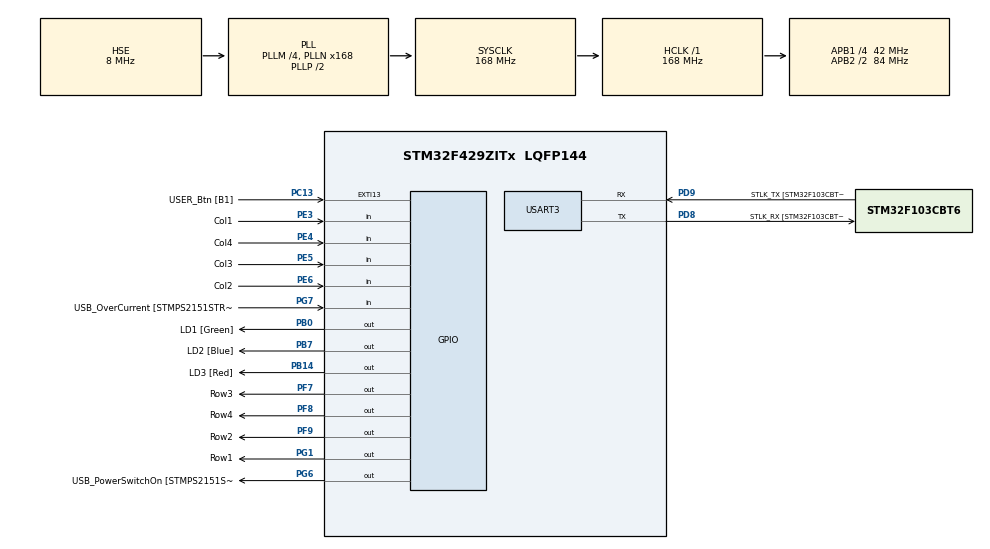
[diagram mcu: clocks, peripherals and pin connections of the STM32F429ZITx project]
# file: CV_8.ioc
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Mcu.Family=STM32F4
Mcu.Name=STM32F429ZITx
Mcu.Package=LQFP144
NVIC.PriorityGroup=NVIC_PRIORITYGROUP_4
NVIC.TIM3_IRQn=true\:0\:0\:false\:false\:true\:true\:true
PA1.GPIO_Label=RMII_REF_CLK [LAN8742A-CZ-TR_REFCLK0]
PA1.Signal=ETH_REF_CLK
PA10.GPIO_Label=USB_ID
PA10.Signal=USB_OTG_FS_ID
PA11.GPIO_Label=USB_DM
PA11.Signal=USB_OTG_FS_DM
PA12.GPIO_Label=USB_DP
PA12.Signal=USB_OTG_FS_DP
PA13.GPIO_Label=TMS
PA13.Mode=Serial_Wire
PA13.Signal=SYS_JTMS-SWDIO
PA14.GPIO_Label=TCK
PA14.Mode=Serial_Wire
PA14.Signal=SYS_JTCK-SWCLK
PA2.GPIO_Label=RMII_MDIO [LAN8742A-CZ-TR_MDIO]
PA2.Signal=ETH_MDIO
PA7.GPIO_Label=RMII_CRS_DV [LAN8742A-CZ-TR_CRS_DV]
PA7.Signal=ETH_CRS_DV
PA8.GPIO_Label=USB_SOF [TP1]
PA8.Signal=USB_OTG_FS_SOF
PA9.GPIO_Label=USB_VBUS
PA9.Signal=USB_OTG_FS_VBUS
PB0.GPIO_Label=LD1 [Green]
PB0.Signal=GPIO_Output
PB13.GPIO_Label=RMII_TXD1 [LAN8742A-CZ-TR_TXD1]
PB13.Signal=ETH_TXD1
PB14.GPIO_Label=LD3 [Red]
PB14.Signal=GPIO_Output
PB7.GPIO_Label=LD2 [Blue]
PB7.Signal=GPIO_Output
PC1.GPIO_Label=RMII_MDC [LAN8742A-CZ-TR_MDC]
PC1.Signal=ETH_MDC
PC13.GPIO_Label=USER_Btn [B1]
PC13.Signal=GPXTI13
PC14/OSC32_IN.Mode=LSE-External-Oscillator
PC14/OSC32_IN.Signal=RCC_OSC32_IN
PC15/OSC32_OUT.Mode=LSE-External-Oscillator
PC15/OSC32_OUT.Signal=RCC_OSC32_OUT
PC4.GPIO_Label=RMII_RXD0 [LAN8742A-CZ-TR_RXD0]
PC4.Signal=ETH_RXD0
PC5.GPIO_Label=RMII_RXD1 [LAN8742A-CZ-TR_RXD1]
PC5.Signal=ETH_RXD1
PD8.GPIO_Label=STLK_RX [STM32F103CBT6_PA3]
PD8.Mode=Asynchronous
PD8.Signal=USART3_TX
PD9.GPIO_Label=STLK_TX [STM32F103CBT6_PA2]
PD9.Mode=Asynchronous
PD9.Signal=USART3_RX
PE3.GPIO_Label=Col1
PE3.GPIO_PuPd=GPIO_PULLUP
PE3.Signal=GPIO_Input
PE4.GPIO_Label=Col4
PE4.GPIO_PuPd=GPIO_PULLUP
PE4.Signal=GPIO_Input
PE5.GPIO_Label=Col3
PE5.GPIO_PuPd=GPIO_PULLUP
PE5.Signal=GPIO_Input
PE6.GPIO_Label=Col2
PE6.GPIO_PuPd=GPIO_PULLUP
PE6.Signal=GPIO_Input
PF7.GPIO_Label=Row3
PF7.GPIO_ModeDefaultOutputPP=GPIO_MODE_OUTPUT_OD
PF7.Signal=GPIO_Output
PF8.GPIO_Label=Row4
PF8.GPIO_ModeDefaultOutputPP=GPIO_MODE_OUTPUT_OD
PF8.Signal=GPIO_Output
PF9.GPIO_Label=Row2
PF9.GPIO_ModeDefaultOutputPP=GPIO_MODE_OUTPUT_OD
PF9.Signal=GPIO_Output
PG1.GPIO_Label=Row1
PG1.GPIO_ModeDefaultOutputPP=GPIO_MODE_OUTPUT_OD
PG1.Signal=GPIO_Output
PG11.GPIO_Label=RMII_TX_EN [LAN8742A-CZ-TR_TXEN]
PG11.Signal=ETH_TX_EN
PG13.GPIO_Label=RMII_TXD0 [LAN8742A-CZ-TR_TXD0]
PG13.Signal=ETH_TXD0
PG6.GPIO_Label=USB_PowerSwitchOn [STMPS2151STR_EN]
PG6.Signal=GPIO_Output
PG7.GPIO_Label=USB_OverCurrent [STMPS2151STR_FAULT]
PG7.Signal=GPIO_Input
PH0/OSC_IN.GPIO_Label=MCO [STM32F103CBT6_PA8]
PH0/OSC_IN.Mode=HSE-External-Clock-Source
PH0/OSC_IN.Signal=RCC_OSC_IN
PH1/OSC_OUT.Mode=HSE-External-Clock-Source
PH1/OSC_OUT.Signal=RCC_OSC_OUT
ProjectManager.HeapSize=0x200
ProjectManager.StackSize=0x400
ProjectManager.TargetToolchain=STM32CubeIDE
RCC.48MHZClocksFreq_Value=48000000
RCC.AHBFreq_Value=168000000
RCC.APB1CLKDivider=RCC_HCLK_DIV4
RCC.APB1Freq_Value=42000000
RCC.APB1TimFreq_Value=84000000
RCC.APB2CLKDivider=RCC_HCLK_DIV2
RCC.APB2Freq_Value=84000000
RCC.APB2TimCLKDivider=2
RCC.APB2TimFreq_Value=168000000
RCC.CortexFreq_Value=168000000
RCC.HCLKFreq_Value=168000000
RCC.HSE_VALUE=8000000
RCC.HSI_VALUE=16000000
RCC.PLLM=4
RCC.PLLMUL=RCC_PLL_MUL9
RCC.PLLN=168
RCC.PLLQ=7
RCC.PLLSourceVirtual=RCC_PLLSOURCE_HSE
RCC.PRESCALERUSB=RCC_USBCLKSOURCE_PLL_DIV1_5
RCC.SYSCLKFreq_VALUE=168000000
RCC.SYSCLKSource=RCC_SYSCLKSOURCE_PLLCLK
RCC.SYSCLKSourceVirtual=RCC_SYSCLKSOURCE_PLLCLK
RCC.USBFreq_Value=48000000
RCC.VCOOutputFreq_Value=336000000
TIM3.AutoReloadPreload=TIM_AUTORELOAD_PRELOAD_ENABLE
TIM3.Period=99
TIM3.Prescaler=8399
USART3.VirtualMode=VM_ASYNC
VP_TIM3_VS_ClockSourceINT.Mode=Internal
board=NUCLEO-F429ZI

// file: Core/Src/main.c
/* USER CODE BEGIN Header */
/**
  ******************************************************************************
  * @file           : main.c
  * @brief          : Main program body
  ******************************************************************************
  * @attention
  *
  * <h2><center>&copy; Copyright (c) 2021 STMicroelectronics.
  * All rights reserved.</center></h2>
  *
  * This software component is licensed by ST under BSD 3-Clause license,
  * the "License"; You may not use this file except in compliance with the
  * License. You may obtain a copy of the License at:
  *                        opensource.org/licenses/BSD-3-Clause
  *
  ******************************************************************************
  */
/* USER CODE END Header */
#include "main.h"

/* USER CODE BEGIN Includes */

#include <stdio.h>

/* USER CODE END Includes */

/* USER CODE BEGIN PD */
#define TIMEOUT 3000

/* USER CODE END PD */

TIM_HandleTypeDef htim3;

UART_HandleTypeDef huart3;

/* USER CODE BEGIN PV */

static volatile int8_t key = -1;

/* USER CODE END PV */

void SystemClock_Config(void);
static void MX_GPIO_Init(void);
static void MX_USART3_UART_Init(void);
static void MX_TIM3_Init(void);

/* USER CODE BEGIN 0 */

int __io_putchar(int ch)
{
 ITM_SendChar(ch);
return 0;
}

/* USER CODE END 0 */

int main(void)
{

  /* MCU Configuration--------------------------------------------------------*/

  /* Reset of all peripherals, Initializes the Flash interface and the Systick. */
  HAL_Init();

  /* Configure the system clock */
  SystemClock_Config();

  /* Initialize all configured peripherals */
  MX_GPIO_Init();
  MX_USART3_UART_Init();
  MX_TIM3_Init();
  /* USER CODE BEGIN 2 */

  printf("Test\n");

  HAL_TIM_Base_Start_IT(&htim3);

  const int8_t password[] = {7, 9, 3, 2, 12};
  uint32_t Tim = HAL_GetTick();
  uint8_t press = 0;
  uint8_t pos = 0;

  /* USER CODE END 2 */

  /* Infinite loop */
  /* USER CODE BEGIN WHILE */
  while (1)
  {
	  /*HAL_GPIO_TogglePin(LD1_GPIO_Port, LD1_Pin);
	  HAL_Delay(250);*/

	  if ((HAL_GetTick() > Tim + TIMEOUT) && press)
	  {
		  printf("Timeout\n");
		  press = 0;
		  pos = 0;
	  }

	  if (key != -1)									// Key press
	  {
		  if (key == password[pos])						// Control key
		  {
			  if (pos == 4)								// Last position
			  {
				  pos = 0;
			  }
			  else
			  {
				  pos++;
				  Tim = HAL_GetTick();
				  HAL_Delay(1000);// Activate Timeout
				  press = 1;
			  }
		  }
		  else
			  pos = 0;

		  printf("Press = %d > pos = %d\n", key, pos);	// Print key and position
		  HAL_GPIO_TogglePin(LD2_GPIO_Port, LD2_Pin);	// Change state on LD2
		  key = -1;
	  }

    /* USER CODE END WHILE */

  }
}

void SystemClock_Config(void)
{
  RCC_OscInitTypeDef RCC_OscInitStruct = {0};
  RCC_ClkInitTypeDef RCC_ClkInitStruct = {0};

  /** Configure the main internal regulator output voltage
  */
  __HAL_RCC_PWR_CLK_ENABLE();
  __HAL_PWR_VOLTAGESCALING_CONFIG(PWR_REGULATOR_VOLTAGE_SCALE1);
  /** Initializes the RCC Oscillators according to the specified parameters
  * in the RCC_OscInitTypeDef structure.
  */
  RCC_OscInitStruct.OscillatorType = RCC_OSCILLATORTYPE_HSE;
  RCC_OscInitStruct.HSEState = RCC_HSE_BYPASS;
  RCC_OscInitStruct.PLL.PLLState = RCC_PLL_ON;
  RCC_OscInitStruct.PLL.PLLSource = RCC_PLLSOURCE_HSE;
  RCC_OscInitStruct.PLL.PLLM = 4;
  RCC_OscInitStruct.PLL.PLLN = 168;
  RCC_OscInitStruct.PLL.PLLP = RCC_PLLP_DIV2;
  RCC_OscInitStruct.PLL.PLLQ = 7;
  if (HAL_RCC_OscConfig(&RCC_OscInitStruct) != HAL_OK)
  {
    Error_Handler();
  }
  /** Initializes the CPU, AHB and APB buses clocks
  */
  RCC_ClkInitStruct.ClockType = RCC_CLOCKTYPE_HCLK|RCC_CLOCKTYPE_SYSCLK
                              |RCC_CLOCKTYPE_PCLK1|RCC_CLOCKTYPE_PCLK2;
  RCC_ClkInitStruct.SYSCLKSource = RCC_SYSCLKSOURCE_PLLCLK;
  RCC_ClkInitStruct.AHBCLKDivider = RCC_SYSCLK_DIV1;
  RCC_ClkInitStruct.APB1CLKDivider = RCC_HCLK_DIV4;
  RCC_ClkInitStruct.APB2CLKDivider = RCC_HCLK_DIV2;

  if (HAL_RCC_ClockConfig(&RCC_ClkInitStruct, FLASH_LATENCY_5) != HAL_OK)
  {
    Error_Handler();
  }
}

static void MX_TIM3_Init(void)
{

  TIM_ClockConfigTypeDef sClockSourceConfig = {0};
  TIM_MasterConfigTypeDef sMasterConfig = {0};

  htim3.Instance = TIM3;
  htim3.Init.Prescaler = 8339;
  htim3.Init.CounterMode = TIM_COUNTERMODE_UP;
  htim3.Init.Period = 99;
  htim3.Init.ClockDivision = TIM_CLOCKDIVISION_DIV1;
  htim3.Init.AutoReloadPreload = TIM_AUTORELOAD_PRELOAD_ENABLE;
  if (HAL_TIM_Base_Init(&htim3) != HAL_OK)
  {
    Error_Handler();
  }
  sClockSourceConfig.ClockSource = TIM_CLOCKSOURCE_INTERNAL;
  if (HAL_TIM_ConfigClockSource(&htim3, &sClockSourceConfig) != HAL_OK)
  {
    Error_Handler();
  }
  sMasterConfig.MasterOutputTrigger = TIM_TRGO_RESET;
  sMasterConfig.MasterSlaveMode = TIM_MASTERSLAVEMODE_DISABLE;
  if (HAL_TIMEx_MasterConfigSynchronization(&htim3, &sMasterConfig) != HAL_OK)
  {
    Error_Handler();
  }

}

static void MX_USART3_UART_Init(void)
{

  huart3.Instance = USART3;
  huart3.Init.BaudRate = 115200;
  huart3.Init.WordLength = UART_WORDLENGTH_8B;
  huart3.Init.StopBits = UART_STOPBITS_1;
  huart3.Init.Parity = UART_PARITY_NONE;
  huart3.Init.Mode = UART_MODE_TX_RX;
  huart3.Init.HwFlowCtl = UART_HWCONTROL_NONE;
  huart3.Init.OverSampling = UART_OVERSAMPLING_16;
  if (HAL_UART_Init(&huart3) != HAL_OK)
  {
    Error_Handler();
  }

}

static void MX_GPIO_Init(void)
{
  GPIO_InitTypeDef GPIO_InitStruct = {0};

  /* GPIO Ports Clock Enable */
  __HAL_RCC_GPIOE_CLK_ENABLE();
  __HAL_RCC_GPIOC_CLK_ENABLE();
  __HAL_RCC_GPIOF_CLK_ENABLE();
  __HAL_RCC_GPIOH_CLK_ENABLE();
  __HAL_RCC_GPIOA_CLK_ENABLE();
  __HAL_RCC_GPIOB_CLK_ENABLE();
  __HAL_RCC_GPIOG_CLK_ENABLE();
  __HAL_RCC_GPIOD_CLK_ENABLE();

  /*Configure GPIO pin Output Level */
  HAL_GPIO_WritePin(GPIOF, Row3_Pin|Row4_Pin|Row2_Pin, GPIO_PIN_RESET);

  /*Configure GPIO pin Output Level */
  HAL_GPIO_WritePin(GPIOB, LD1_Pin|LD3_Pin|LD2_Pin, GPIO_PIN_RESET);

  /*Configure GPIO pin Output Level */
  HAL_GPIO_WritePin(GPIOG, Row1_Pin|USB_PowerSwitchOn_Pin, GPIO_PIN_RESET);

  /*Configure GPIO pins : Col1_Pin Col4_Pin Col3_Pin Col2_Pin */
  GPIO_InitStruct.Pin = Col1_Pin|Col4_Pin|Col3_Pin|Col2_Pin;
  GPIO_InitStruct.Mode = GPIO_MODE_INPUT;
  GPIO_InitStruct.Pull = GPIO_PULLUP;
  HAL_GPIO_Init(GPIOE, &GPIO_InitStruct);

  /*Configure GPIO pin : USER_Btn_Pin */
  GPIO_InitStruct.Pin = USER_Btn_Pin;
  GPIO_InitStruct.Mode = GPIO_MODE_IT_RISING;
  GPIO_InitStruct.Pull = GPIO_NOPULL;
  HAL_GPIO_Init(USER_Btn_GPIO_Port, &GPIO_InitStruct);

  /*Configure GPIO pins : Row3_Pin Row4_Pin Row2_Pin */
  GPIO_InitStruct.Pin = Row3_Pin|Row4_Pin|Row2_Pin;
  GPIO_InitStruct.Mode = GPIO_MODE_OUTPUT_OD;
  GPIO_InitStruct.Pull = GPIO_NOPULL;
  GPIO_InitStruct.Speed = GPIO_SPEED_FREQ_LOW;
  HAL_GPIO_Init(GPIOF, &GPIO_InitStruct);

  /*Configure GPIO pins : RMII_MDC_Pin RMII_RXD0_Pin RMII_RXD1_Pin */
  GPIO_InitStruct.Pin = RMII_MDC_Pin|RMII_RXD0_Pin|RMII_RXD1_Pin;
  GPIO_InitStruct.Mode = GPIO_MODE_AF_PP;
  GPIO_InitStruct.Pull = GPIO_NOPULL;
  GPIO_InitStruct.Speed = GPIO_SPEED_FREQ_VERY_HIGH;
  GPIO_InitStruct.Alternate = GPIO_AF11_ETH;
  HAL_GPIO_Init(GPIOC, &GPIO_InitStruct);

  /*Configure GPIO pins : RMII_REF_CLK_Pin RMII_MDIO_Pin RMII_CRS_DV_Pin */
  GPIO_InitStruct.Pin = RMII_REF_CLK_Pin|RMII_MDIO_Pin|RMII_CRS_DV_Pin;
  GPIO_InitStruct.Mode = GPIO_MODE_AF_PP;
  GPIO_InitStruct.Pull = GPIO_NOPULL;
  GPIO_InitStruct.Speed = GPIO_SPEED_FREQ_VERY_HIGH;
  GPIO_InitStruct.Alternate = GPIO_AF11_ETH;
  HAL_GPIO_Init(GPIOA, &GPIO_InitStruct);

  /*Configure GPIO pins : LD1_Pin LD3_Pin LD2_Pin */
  GPIO_InitStruct.Pin = LD1_Pin|LD3_Pin|LD2_Pin;
  GPIO_InitStruct.Mode = GPIO_MODE_OUTPUT_PP;
  GPIO_InitStruct.Pull = GPIO_NOPULL;
  GPIO_InitStruct.Speed = GPIO_SPEED_FREQ_LOW;
  HAL_GPIO_Init(GPIOB, &GPIO_InitStruct);

  /*Configure GPIO pin : Row1_Pin */
  GPIO_InitStruct.Pin = Row1_Pin;
  GPIO_InitStruct.Mode = GPIO_MODE_OUTPUT_OD;
  GPIO_InitStruct.Pull = GPIO_NOPULL;
  GPIO_InitStruct.Speed = GPIO_SPEED_FREQ_LOW;
  HAL_GPIO_Init(Row1_GPIO_Port, &GPIO_InitStruct);

  /*Configure GPIO pin : RMII_TXD1_Pin */
  GPIO_InitStruct.Pin = RMII_TXD1_Pin;
  GPIO_InitStruct.Mode = GPIO_MODE_AF_PP;
  GPIO_InitStruct.Pull = GPIO_NOPULL;
  GPIO_InitStruct.Speed = GPIO_SPEED_FREQ_VERY_HIGH;
  GPIO_InitStruct.Alternate = GPIO_AF11_ETH;
  HAL_GPIO_Init(RMII_TXD1_GPIO_Port, &GPIO_InitStruct);

  /*Configure GPIO pin : USB_PowerSwitchOn_Pin */
  GPIO_InitStruct.Pin = USB_PowerSwitchOn_Pin;
  GPIO_InitStruct.Mode = GPIO_MODE_OUTPUT_PP;
  GPIO_InitStruct.Pull = GPIO_NOPULL;
  GPIO_InitStruct.Speed = GPIO_SPEED_FREQ_LOW;
  HAL_GPIO_Init(USB_PowerSwitchOn_GPIO_Port, &GPIO_InitStruct);

  /*Configure GPIO pin : USB_OverCurrent_Pin */
  GPIO_InitStruct.Pin = USB_OverCurrent_Pin;
  GPIO_InitStruct.Mode = GPIO_MODE_INPUT;
  GPIO_InitStruct.Pull = GPIO_NOPULL;
  HAL_GPIO_Init(USB_OverCurrent_GPIO_Port, &GPIO_InitStruct);

  /*Configure GPIO pins : USB_SOF_Pin USB_ID_Pin USB_DM_Pin USB_DP_Pin */
  GPIO_InitStruct.Pin = USB_SOF_Pin|USB_ID_Pin|USB_DM_Pin|USB_DP_Pin;
  GPIO_InitStruct.Mode = GPIO_MODE_AF_PP;
  GPIO_InitStruct.Pull = GPIO_NOPULL;
  GPIO_InitStruct.Speed = GPIO_SPEED_FREQ_VERY_HIGH;
  GPIO_InitStruct.Alternate = GPIO_AF10_OTG_FS;
  HAL_GPIO_Init(GPIOA, &GPIO_InitStruct);

  /*Configure GPIO pin : USB_VBUS_Pin */
  GPIO_InitStruct.Pin = USB_VBUS_Pin;
  GPIO_InitStruct.Mode = GPIO_MODE_INPUT;
  GPIO_InitStruct.Pull = GPIO_NOPULL;
  HAL_GPIO_Init(USB_VBUS_GPIO_Port, &GPIO_InitStruct);

  /*Configure GPIO pins : RMII_TX_EN_Pin RMII_TXD0_Pin */
  GPIO_InitStruct.Pin = RMII_TX_EN_Pin|RMII_TXD0_Pin;
  GPIO_InitStruct.Mode = GPIO_MODE_AF_PP;
  GPIO_InitStruct.Pull = GPIO_NOPULL;
  GPIO_InitStruct.Speed = GPIO_SPEED_FREQ_VERY_HIGH;
  GPIO_InitStruct.Alternate = GPIO_AF11_ETH;
  HAL_GPIO_Init(GPIOG, &GPIO_InitStruct);

}

/* USER CODE BEGIN 4 */

void HAL_TIM_PeriodElapsedCallback(TIM_HandleTypeDef *htim)
{
	static int8_t row = 0;
	static const int8_t keyboard[4][4] = {
			{ 1, 2, 3, 21 },
			{ 4, 5, 6, 22 },
			{ 7, 8, 9, 23 },
			{ 11, 0, 12, 24 },
	};

	if (key == -1) {
		if (HAL_GPIO_ReadPin(Col1_GPIO_Port, Col1_Pin) == GPIO_PIN_RESET)
			key = keyboard[row][0];
		if (HAL_GPIO_ReadPin(Col2_GPIO_Port, Col2_Pin) == GPIO_PIN_RESET)
			key = keyboard[row][1];
		if (HAL_GPIO_ReadPin(Col3_GPIO_Port, Col3_Pin) == GPIO_PIN_RESET)
			key = keyboard[row][2];
		if (HAL_GPIO_ReadPin(Col4_GPIO_Port, Col4_Pin) == GPIO_PIN_RESET)
			key = keyboard[row][3];

	}

	HAL_GPIO_WritePin(Row1_GPIO_Port, Row1_Pin, GPIO_PIN_SET);
	HAL_GPIO_WritePin(Row2_GPIO_Port, Row2_Pin, GPIO_PIN_SET);
	HAL_GPIO_WritePin(Row3_GPIO_Port, Row3_Pin, GPIO_PIN_SET);
	HAL_GPIO_WritePin(Row4_GPIO_Port, Row4_Pin, GPIO_PIN_SET);

	switch (row) {
	case 0:
		row = 1;
		HAL_GPIO_WritePin(Row2_GPIO_Port, Row2_Pin, GPIO_PIN_RESET);
		break;
	case 1:
		row = 2;
		HAL_GPIO_WritePin(Row3_GPIO_Port, Row3_Pin, GPIO_PIN_RESET);
		break;
	case 2:
		row = 3;
		HAL_GPIO_WritePin(Row4_GPIO_Port, Row4_Pin, GPIO_PIN_RESET);
		break;
	case 3:
		row = 0;
		HAL_GPIO_WritePin(Row1_GPIO_Port, Row1_Pin, GPIO_PIN_RESET);
		break;
	}
}

/* USER CODE END 4 */

void Error_Handler(void)
{
}

/************************ (C) COPYRIGHT STMicroelectronics *****END OF FILE****/
